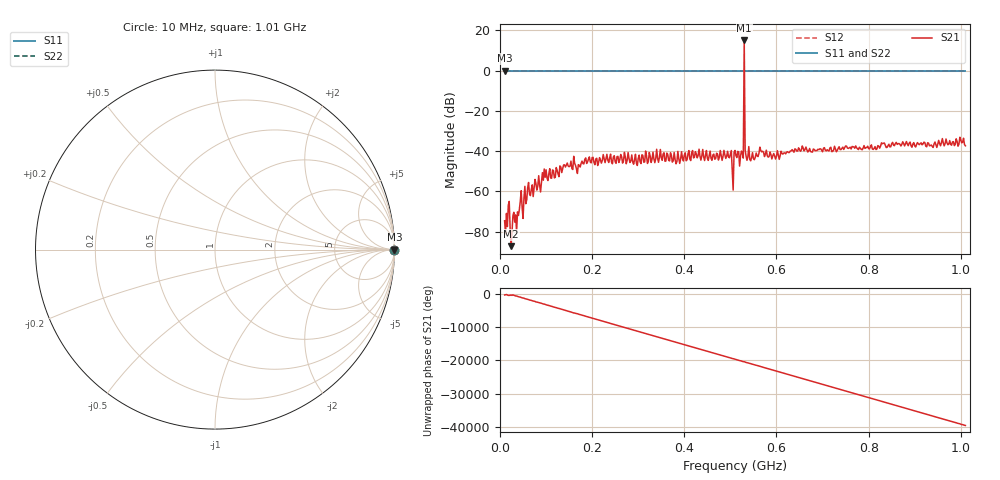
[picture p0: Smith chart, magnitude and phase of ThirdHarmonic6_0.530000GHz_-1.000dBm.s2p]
! 8/15/2025 4:29:21 PM
! C:\ANRITSUVNA\TEMP\TEMP.S2P
! CHANNEL.1
! TR.MEASUREMENT
! RAW.DATA
! RF.CORRECTION.OFF
! AVERAGING.OFF
! IF.BANDWIDTH: 5KHZ
! SWEEPTYPE:  FREQ.SWEEP(Linear)
! Reference Plane Port Info
! PORT:  PORT1  PORT2
! DISTANCE:  0  m  0  m
! TIME:  0  s  0  s
! PHASE.OFFSET:  0  deg.  0  deg.
! LOSS:  0  dB  0  dB
! REF.LOSS:  0  dB  0  dB
! REF.FREQ:  0  Hz  0  Hz
! Power Info
! POWER:  -20  dBm  -20  dBm
! EFF.POWER:  -20  dBm  -20  dBm
! SOURCE.ATTEN:  0  dB  0  dB
! TEST.ATTEN:  0  dB  0  dB
# GHZ S RI R 50.0
! FREQ.GHZ  S11RE  S11IM  S21RE  S21IM  S12RE  S12IM  S22RE  S22IM
!; PortSelection: Port_12
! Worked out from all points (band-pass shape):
!   501 points, 10 MHz to 1.01 GHz, reference 50 ohm
!   highest |S21| = 14.94 dB at 530 MHz (marker M1); lowest = -87.2 dB at 24 MHz (marker M2)
!   |S21| within 3 dB of the highest: 529.8973 MHz to 530.1104 MHz (213.2 kHz wide, 0.0402 % of centre)
!   lowest |S11| = 0.0 dB at 10 MHz (marker M3)
!   |S11| at or under -10 dB: nowhere
!   |S22| runs from 0.0 to 0.0 dB; largest |S21 - S12| = 6.4
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0.01  1 0  -0.000181 -4.79e-05  1 0  1 0
0.018  1 0  0.000248 0.000382  1 0  1 0
0.024  1 0  -4.34e-05 -5.7e-06  1 0  1 0
0.036  1 0  -4.88e-05 -8.42e-05  1 0  1 0
0.042  1 0  0.000215 -0.000285  1 0  1 0
0.058  1 0  0.000576 0.000216  1 0  1 0
0.084  1 0  0.0016 0.00186  1 0  1 0
0.096  1 0  0.00264 -0.00246  1 0  1 0
0.178  1 0  -0.00549 -0.00135  1 0  1 0
0.344  1 0  0.00526 0.000639  1 0  1 0
0.498  1 0  0.0049 -0.0048  1 0  1 0
0.502  1 0  -0.0079 0.0067  1 0  1 0
0.51  1 0  -0.0104 3.7e-06  1 0  1 0
0.512  1 0  -0.0014 0.00762  1 0  1 0
0.524  1 0  0.00982 -0.00201  1 0  1 0
0.526  1 0  -0.00325 -0.00817  1 0  1 0
0.53  1 0  -4.668 3.067  1 0  1 0
0.534  1 0  0.00238 -0.00714  1 0  1 0
0.536  1 0  -0.00404 -0.00432  1 0  1 0
0.678  1 0  0.00487 -0.00811  1 0  1 0
0.844  1 0  -0.00715 0.013  1 0  1 0
1.01  1 0  0.00612 -0.0121  1 0  1 0
